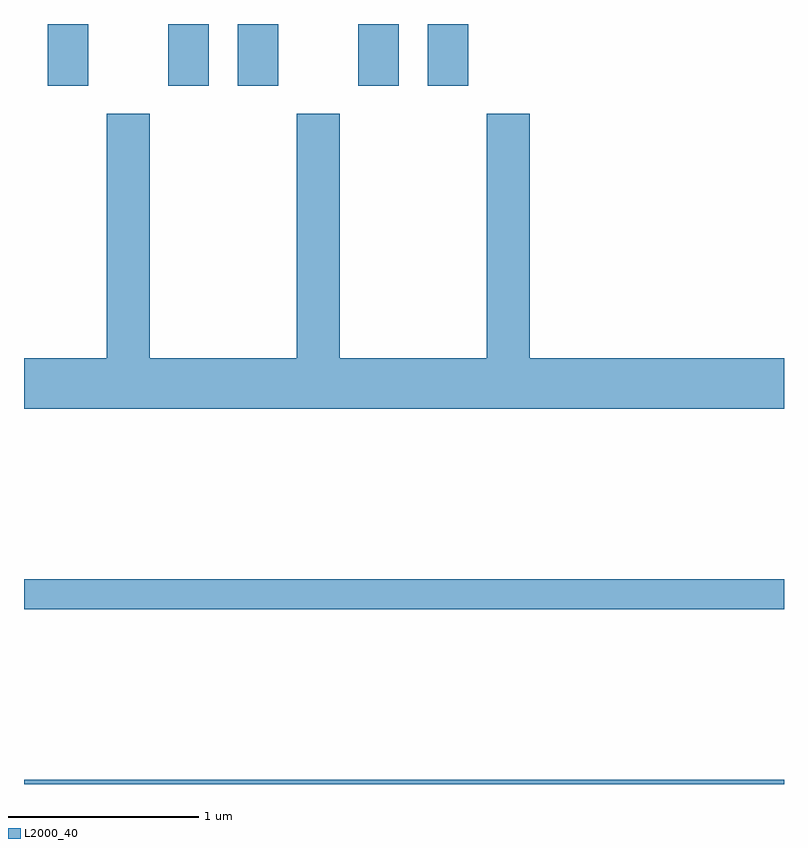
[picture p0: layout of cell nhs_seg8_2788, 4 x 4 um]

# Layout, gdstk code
import gdstk
lib = gdstk.Library(unit=1e-6, precision=1e-09)
def R(c, l, rs):  # rectangles x0, y0, x1, y1
    for r in rs: c.add(gdstk.rectangle(r[:2], r[2:], *l))
def P(c, l, *ps):  # polygons
    for p in ps: c.add(gdstk.Polygon(p, *l))
L2000_40 = (2000, 40)

nhs_seg8_2788 = lib.new_cell('nhs_seg8_2788')
R(nhs_seg8_2788, L2000_40, [(267.611,1934.342,271.611,1934.364), (267.611,1935.261,271.611,1935.419), (267.736,1938.016,267.949,1938.342), (268.371,1938.016,268.584,1938.342), (268.736,1938.016,268.949,1938.342), (269.371,1938.016,269.584,1938.342), (269.736,1938.016,269.949,1938.342)])
P(nhs_seg8_2788, L2000_40, [(271.611,1936.584),(270.274,1936.584),(270.274,1937.869),(270.046,1937.869),(270.046,1936.584),(269.274,1936.584),(269.274,1937.869),(269.046,1937.869),(269.046,1936.584),(268.274,1936.584),(268.274,1937.869),(268.046,1937.869),(268.046,1936.584),(267.611,1936.584),(267.611,1936.316),(271.611,1936.316)])

lib.write_gds('nhs_seg8_2788.gds')
